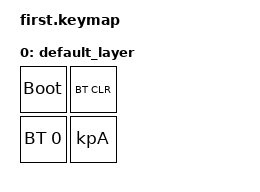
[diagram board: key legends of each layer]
#include <behaviors.dtsi>
#include <dt-bindings/zmk/keys.h>
#include <dt-bindings/zmk/bt.h>

/ {
	keymap {
		compatible = "zmk,keymap";

		default_layer {
			bindings = <
				&bootloader       &bt BT_CLR
				&bt BT_SEL 0      &kp KP_A
			>;
		};
	};
};
